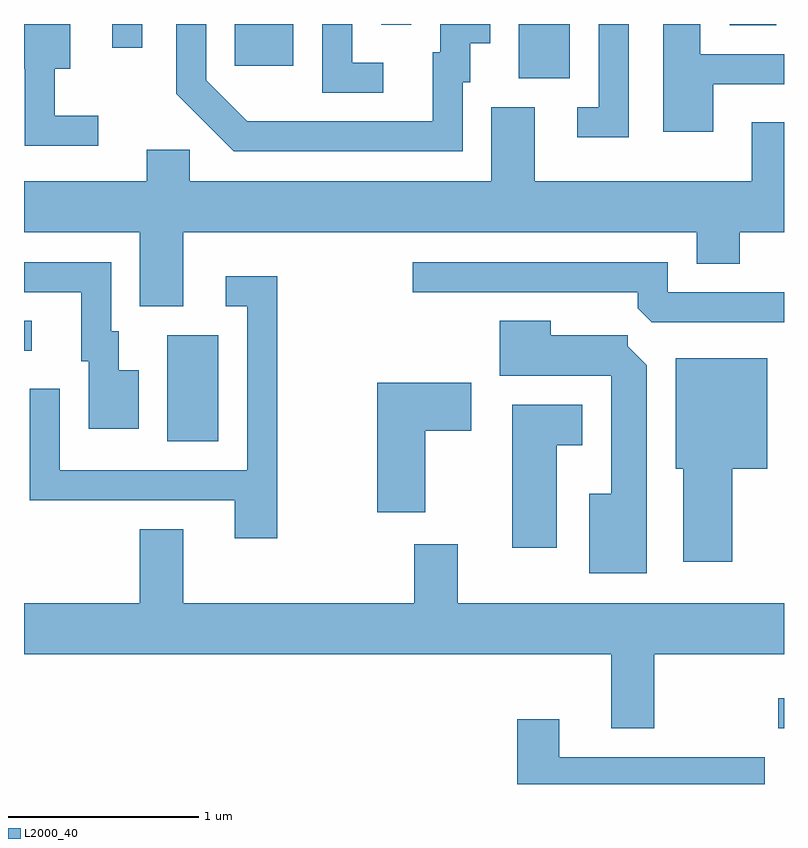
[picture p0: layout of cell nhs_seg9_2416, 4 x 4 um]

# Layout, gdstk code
import gdstk
lib = gdstk.Library(unit=1e-6, precision=1e-09)
def R(c, l, rs):  # rectangles x0, y0, x1, y1
    for r in rs: c.add(gdstk.rectangle(r[:2], r[2:], *l))
def P(c, l, *ps):  # polygons
    for p in ps: c.add(gdstk.Polygon(p, *l))
L2000_40 = (2000, 40)

nhs_seg9_2416 = lib.new_cell('nhs_seg9_2416')
R(nhs_seg9_2416, L2000_40, [(259.582,2024.726,259.611,2024.884), (256.366,2026.236,256.634,2026.794), (255.611,2026.711,255.653,2026.869), (258.216,2028.146,258.484,2028.432), (256.721,2028.211,257.029,2028.432), (256.076,2028.308,256.234,2028.432), (259.326,2028.426,259.569,2028.432), (257.491,2028.428,257.649,2028.432)])
P(nhs_seg9_2416, L2000_40, [(258.794,2028.432),(258.636,2028.432),(258.636,2027.994),(258.522,2027.994),(258.522,2027.836),(258.794,2027.836)],
  [(257.919,2028.126),(257.959,2028.126),(257.959,2028.331),(258.064,2028.331),(258.064,2028.432),(257.801,2028.432),(257.801,2028.284),(257.761,2028.284),(257.761,2027.919),(256.787,2027.919),(256.569,2028.137),(256.569,2028.432),(256.411,2028.432),(256.411,2028.064),(256.714,2027.761),(257.919,2027.761)],
  [(259.239,2028.116),(259.611,2028.116),(259.611,2028.274),(259.169,2028.274),(259.169,2028.432),(258.976,2028.432),(258.976,2027.866),(259.239,2027.866)],
  [(256.003,2027.949),(255.774,2027.949),(255.774,2028.196),(255.854,2028.196),(255.854,2028.432),(255.611,2028.432),(255.611,2028.196),(255.616,2028.196),(255.616,2027.791),(256.003,2027.791)],
  [(257.503,2028.229),(257.339,2028.229),(257.339,2028.432),(257.181,2028.432),(257.181,2028.071),(257.503,2028.071)],
  [(256.449,2027.336),(259.151,2027.336),(259.151,2027.171),(259.379,2027.171),(259.379,2027.336),(259.611,2027.336),(259.611,2027.914),(259.441,2027.914),(259.441,2027.604),(258.299,2027.604),(258.299,2027.994),(258.071,2027.994),(258.071,2027.604),(256.484,2027.604),(256.484,2027.769),(256.256,2027.769),(256.256,2027.604),(255.611,2027.604),(255.611,2027.336),(256.221,2027.336),(256.221,2026.946),(256.449,2026.946)],
  [(259.611,2027.019),(258.999,2027.019),(258.999,2027.179),(257.658,2027.179),(257.658,2027.021),(258.841,2027.021),(258.841,2026.937),(258.916,2026.861),(259.611,2026.861)],
  [(256.214,2026.609),(256.109,2026.609),(256.109,2026.814),(256.069,2026.814),(256.069,2027.179),(255.611,2027.179),(255.611,2027.021),(255.911,2027.021),(255.911,2026.656),(255.951,2026.656),(255.951,2026.301),(256.214,2026.301)],
  [(256.944,2027.104),(256.673,2027.104),(256.673,2026.946),(256.786,2026.946),(256.786,2026.084),(255.799,2026.084),(255.799,2026.513),(255.641,2026.513),(255.641,2025.926),(256.721,2025.926),(256.721,2025.726),(256.944,2025.726)],
  [(258.889,2026.637),(258.789,2026.737),(258.789,2026.794),(258.384,2026.794),(258.384,2026.869),(258.116,2026.869),(258.116,2026.581),(258.701,2026.581),(258.701,2025.959),(258.586,2025.959),(258.586,2025.541),(258.889,2025.541)],
  [(259.339,2026.091),(259.524,2026.091),(259.524,2026.674),(259.041,2026.674),(259.041,2026.091),(259.081,2026.091),(259.081,2025.601),(259.339,2025.601)],
  [(257.724,2026.291),(257.964,2026.291),(257.964,2026.544),(257.471,2026.544),(257.471,2025.861),(257.724,2025.861)],
  [(258.414,2026.216),(258.549,2026.216),(258.549,2026.429),(258.181,2026.429),(258.181,2025.676),(258.414,2025.676)],
  [(258.929,2025.116),(259.611,2025.116),(259.611,2025.384),(257.894,2025.384),(257.894,2025.694),(257.666,2025.694),(257.666,2025.384),(256.449,2025.384),(256.449,2025.774),(256.221,2025.774),(256.221,2025.384),(255.611,2025.384),(255.611,2025.116),(258.701,2025.116),(258.701,2024.726),(258.929,2024.726)],
  [(259.509,2024.574),(258.429,2024.574),(258.429,2024.774),(258.206,2024.774),(258.206,2024.432),(259.509,2024.432)])

lib.write_gds('nhs_seg9_2416.gds')
